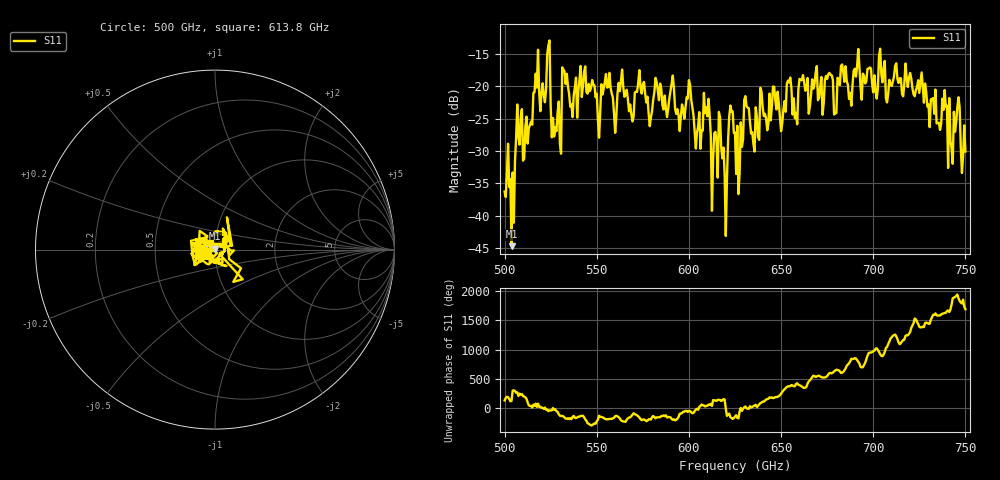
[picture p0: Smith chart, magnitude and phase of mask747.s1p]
!Created with skrf (http://scikit-rf.org).
# GHz S MA R 50.0
!freq magS11 angS11
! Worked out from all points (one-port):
!   401 points, 500 GHz to 750 GHz, reference 50 ohm
!   lowest |S11| = -44.7 dB at 503.8 GHz (marker M1), VSWR 1.01, Z = 49.8 + j0.522 ohm
!   |S11| at or under -10 dB: start of sweep to end of sweep
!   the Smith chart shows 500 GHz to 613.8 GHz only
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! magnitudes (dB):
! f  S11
! 500 GHz  -36.3
! 503.8 GHz  -44.7
! 507.5 GHz  -27.8
! 513.8 GHz  -26.0
! 516.9 GHz  -18.0
! 523.8 GHz  -13.7
! 526.9 GHz  -27.8
! 531.2 GHz  -17.1
! 532.5 GHz  -17.7
! 550.6 GHz  -25.1
! 562.5 GHz  -20.8
! 593.8 GHz  -23.5
! 600 GHz  -19.1
! 605 GHz  -26.2
! 609.4 GHz  -23.3
! 613.1 GHz  -31.2
! 617.5 GHz  -29.4
! 619.4 GHz  -33.6
! 622.5 GHz  -23.0
! 625 GHz  -27.1
! 626.2 GHz  -26.1
! 631.2 GHz  -23.1
! 634.4 GHz  -27.1
! 656.2 GHz  -24.4
! 687.5 GHz  -21.0
! 691.2 GHz  -16.9
! 718.8 GHz  -20.1
! 750 GHz  -30.1
